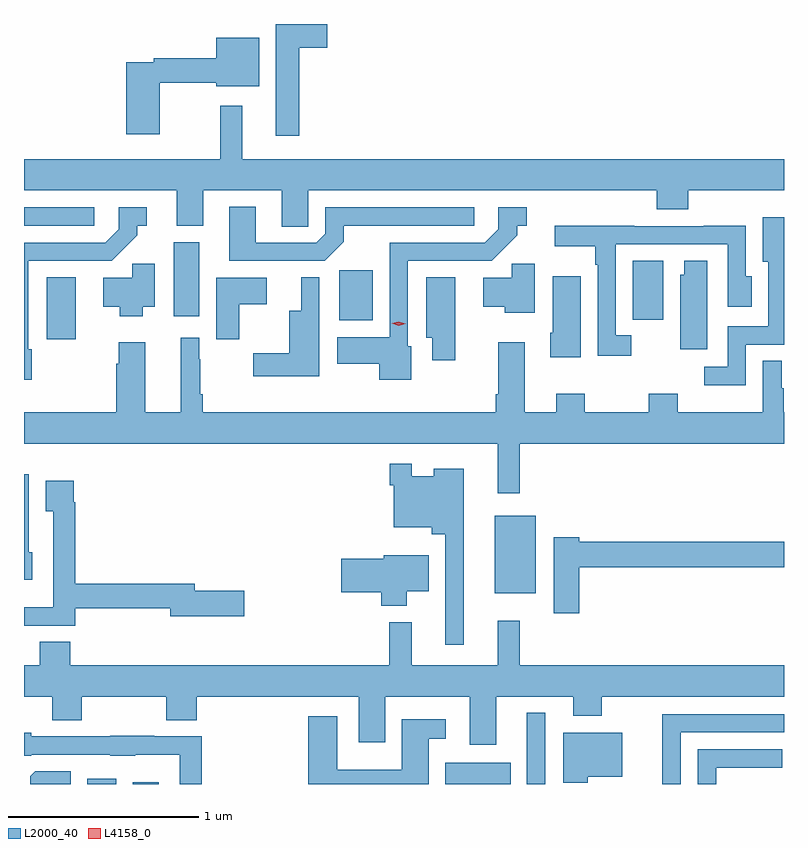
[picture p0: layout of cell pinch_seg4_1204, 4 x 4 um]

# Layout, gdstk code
import gdstk
lib = gdstk.Library(unit=1e-6, precision=1e-09)
def R(c, l, rs):  # rectangles x0, y0, x1, y1
    for r in rs: c.add(gdstk.rectangle(r[:2], r[2:], *l))
def P(c, l, *ps):  # polygons
    for p in ps: c.add(gdstk.Polygon(p, *l))
L2000_40 = (2000, 40)
L4158_0 = (4158, 0)

pinch_seg4_1204 = lib.new_cell('pinch_seg4_1204')
R(pinch_seg4_1204, L2000_40, [(314.534,824.332,314.686,824.359), (314.774,824.332,314.911,824.341), (316.418,824.332,316.763,824.443), (316.848,824.332,316.944,824.707), (316.679,825.335,316.894,825.745), (314.321,826.674,314.473,827), (315.86,826.772,316.036,827.036), (317.405,826.776,317.566,827.087), (314.99,826.793,315.124,827.184), (314.201,827.271,314.572,827.367)])
P(pinch_seg4_1204, L2000_40, [(315.649,828.206),(315.796,828.206),(315.796,828.332),(315.527,828.332),(315.527,827.745),(315.649,827.745)],
  [(314.916,828.024),(315.212,828.024),(315.212,828.005),(315.439,828.005),(315.439,828.259),(315.212,828.259),(315.212,828.152),(314.884,828.152),(314.884,828.132),(314.738,828.132),(314.738,827.751),(314.916,827.751)],
  [(315.696,827.456),(317.531,827.456),(317.531,827.357),(317.696,827.357),(317.696,827.456),(318.201,827.456),(318.201,827.62),(315.349,827.62),(315.349,827.902),(315.235,827.902),(315.235,827.62),(314.201,827.62),(314.201,827.456),(315.005,827.456),(315.005,827.269),(315.145,827.269),(315.145,827.456),(315.557,827.456),(315.557,827.266),(315.696,827.266)],
  [(315.885,827.187),(315.885,827.271),(316.57,827.271),(316.57,827.367),(315.786,827.367),(315.786,827.229),(315.738,827.181),(315.421,827.181),(315.421,827.371),(315.281,827.371),(315.281,827.085),(315.783,827.085)],
  [(314.242,826.62),(314.223,826.62),(314.223,827.085),(314.664,827.085),(314.798,827.219),(314.798,827.27),(314.848,827.27),(314.848,827.367),(314.7,827.367),(314.7,827.253),(314.628,827.181),(314.201,827.181),(314.201,826.46),(314.242,826.46)],
  [(316.24,826.635),(316.221,826.635),(316.221,827.085),(316.662,827.085),(316.796,827.219),(316.796,827.27),(316.846,827.27),(316.846,827.367),(316.698,827.367),(316.698,827.253),(316.626,827.181),(316.125,827.181),(316.125,826.684),(315.849,826.684),(315.849,826.544),(316.072,826.544),(316.072,826.46),(316.24,826.46)],
  [(318,826.644),(318.201,826.644),(318.201,827.314),(318.089,827.314),(318.089,827.081),(318.119,827.081),(318.119,826.74),(317.904,826.74),(317.904,826.527),(317.781,826.527),(317.781,826.43),(318,826.43)],
  [(317.398,826.695),(317.316,826.695),(317.316,827.172),(317.904,827.172),(317.904,826.845),(318.031,826.845),(318.031,827.004),(318,827.004),(318,827.27),(317.779,827.27),(317.779,827.268),(317.413,827.268),(317.413,827.27),(316.995,827.27),(316.995,827.162),(317.208,827.162),(317.208,827.066),(317.22,827.066),(317.22,826.587),(317.398,826.587)],
  [(317.797,827.087),(317.675,827.087),(317.675,827.013),(317.654,827.013),(317.654,826.62),(317.797,826.62)],
  [(314.827,826.844),(314.89,826.844),(314.89,827.069),(314.77,827.069),(314.77,826.996),(314.619,826.996),(314.619,826.844),(314.705,826.844),(314.705,826.793),(314.827,826.793)],
  [(316.888,827.069),(316.768,827.069),(316.768,826.996),(316.617,826.996),(316.617,826.844),(316.73,826.844),(316.73,826.811),(316.888,826.811)],
  [(317.131,827.005),(316.985,827.005),(316.985,826.707),(316.97,826.707),(316.97,826.578),(317.131,826.578)],
  [(315.756,827),(315.659,827),(315.659,826.822),(315.596,826.822),(315.596,826.6),(315.408,826.6),(315.408,826.478),(315.756,826.478)],
  [(316.471,827),(316.319,827),(316.319,826.682),(316.349,826.682),(316.349,826.563),(316.471,826.563)],
  [(315.334,826.856),(315.478,826.856),(315.478,826.996),(315.212,826.996),(315.212,826.674),(315.334,826.674)],
  [(316.811,826.124),(318.201,826.124),(318.201,826.288),(318.2,826.288),(318.2,826.416),(318.19,826.416),(318.19,826.559),(318.089,826.559),(318.089,826.288),(317.643,826.288),(317.643,826.387),(317.488,826.387),(317.488,826.288),(317.151,826.288),(317.151,826.387),(317.003,826.387),(317.003,826.288),(316.837,826.288),(316.837,826.657),(316.697,826.657),(316.697,826.384),(316.685,826.384),(316.685,826.288),(315.143,826.288),(315.143,826.384),(315.128,826.384),(315.128,826.568),(315.123,826.568),(315.123,826.681),(315.026,826.681),(315.026,826.288),(314.839,826.288),(314.839,826.657),(314.699,826.657),(314.699,826.544),(314.687,826.544),(314.687,826.288),(314.201,826.288),(314.201,826.124),(316.694,826.124),(316.694,825.861),(316.811,825.861)],
  [(316.516,825.991),(316.358,825.991),(316.358,825.952),(316.242,825.952),(316.242,826.018),(316.126,826.018),(316.126,825.905),(316.146,825.905),(316.146,825.683),(316.346,825.683),(316.346,825.647),(316.419,825.647),(316.419,825.066),(316.516,825.066)],
  [(314.245,825.552),(314.227,825.552),(314.227,825.961),(314.201,825.961),(314.201,825.408),(314.245,825.408)],
  [(314.221,825.165),(314.471,825.165),(314.471,825.258),(314.972,825.258),(314.972,825.215),(315.361,825.215),(315.361,825.35),(315.1,825.35),(315.1,825.386),(314.471,825.386),(314.471,825.815),(314.464,825.815),(314.464,825.928),(314.315,825.928),(314.315,825.767),(314.355,825.767),(314.355,825.262),(314.201,825.262),(314.201,825.164),(314.221,825.164)],
  [(317.123,825.472),(318.201,825.472),(318.201,825.608),(317.123,825.608),(317.123,825.632),(316.988,825.632),(316.988,825.231),(317.123,825.231)],
  [(316.216,825.347),(316.33,825.347),(316.33,825.535),(316.094,825.535),(316.094,825.518),(315.87,825.518),(315.87,825.34),(316.082,825.34),(316.082,825.269),(316.216,825.269)],
  [(316.687,824.792),(317.093,824.792),(317.093,824.69),(317.241,824.69),(317.241,824.792),(318.201,824.792),(318.201,824.956),(316.811,824.956),(316.811,825.19),(316.694,825.19),(316.694,824.956),(316.241,824.956),(316.241,825.184),(316.123,825.184),(316.123,824.956),(314.444,824.956),(314.444,825.08),(314.284,825.08),(314.284,824.956),(314.201,824.956),(314.201,824.792),(314.35,824.792),(314.35,824.668),(314.505,824.668),(314.505,824.792),(314.95,824.792),(314.95,824.668),(315.11,824.668),(315.11,824.792),(315.962,824.792),(315.962,824.553),(316.102,824.553),(316.102,824.792),(316.547,824.792),(316.547,824.538),(316.687,824.538)],
  [(317.658,824.604),(318.201,824.604),(318.201,824.7),(317.561,824.7),(317.561,824.332),(317.658,824.332)],
  [(316.33,824.57),(316.42,824.57),(316.42,824.674),(316.19,824.674),(316.19,824.407),(315.85,824.407),(315.85,824.689),(315.698,824.689),(315.698,824.332),(316.33,824.332)],
  [(315.137,824.583),(314.887,824.583),(314.887,824.585),(314.655,824.585),(314.655,824.583),(314.238,824.583),(314.238,824.602),(314.201,824.602),(314.201,824.48),(314.238,824.48),(314.238,824.487),(314.655,824.487),(314.655,824.48),(314.787,824.48),(314.787,824.486),(315.021,824.486),(315.021,824.332),(315.137,824.332)],
  [(317.169,824.369),(317.35,824.369),(317.35,824.602),(317.039,824.602),(317.039,824.339),(317.169,824.339)],
  [(317.844,824.418),(318.191,824.418),(318.191,824.514),(317.748,824.514),(317.748,824.332),(317.844,824.332)],
  [(314.446,824.398),(314.26,824.398),(314.234,824.372),(314.234,824.332),(314.446,824.332)])
P(pinch_seg4_1204, L4158_0, [(316.173,826.745),(316.137,826.756),(316.137,826.757),(316.137,826.757),(316.173,826.765),(316.209,826.754),(316.209,826.754),(316.209,826.754)])

lib.write_gds('pinch_seg4_1204.gds')
